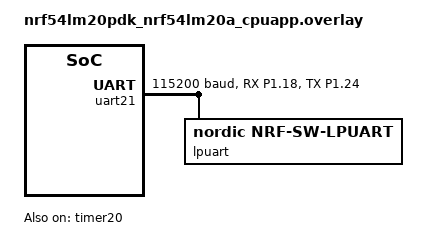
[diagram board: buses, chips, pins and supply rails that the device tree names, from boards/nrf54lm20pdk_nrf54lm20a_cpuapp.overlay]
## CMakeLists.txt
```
#
# Copyright (c) 2021 Nordic Semiconductor ASA
#
# SPDX-License-Identifier: LicenseRef-Nordic-5-Clause
#

cmake_minimum_required(VERSION 3.20.0)

find_package(Zephyr REQUIRED HINTS $ENV{ZEPHYR_BASE})
project(NONE)

target_sources(app PRIVATE
  src/main.c
)
```

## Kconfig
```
#
# Copyright (c) 2022 Nordic Semiconductor
#
# SPDX-License-Identifier: LicenseRef-Nordic-5-Clause
#

config TEST_LPUART_TIMEOUT
	int "Test timeout (seconds)"
	default 1

config TEST_LPUART_LOOPBACK
	bool "Loopback"

source "Kconfig.zephyr"
```

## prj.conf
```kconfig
#
# Copyright (c) 2021-2023 Nordic Semiconductor
#
# SPDX-License-Identifier: LicenseRef-Nordic-5-Clause
#
CONFIG_ZTEST=y
CONFIG_XOSHIRO_RANDOM_GENERATOR=y
CONFIG_ENTROPY_GENERATOR=y

CONFIG_NRF_SW_LPUART=y
CONFIG_NRF_SW_LPUART_MAX_PACKET_SIZE=4
CONFIG_TEST_LOGGING_DEFAULTS=n
CONFIG_COUNTER=y

CONFIG_TEST_LPUART_TIMEOUT=10
```

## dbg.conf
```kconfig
CONFIG_USE_SEGGER_RTT=n
CONFIG_LOG=y
CONFIG_LOG_MODE_DEFERRED=y
CONFIG_LOG_BUFFER_SIZE=4096
CONFIG_LOG_PROCESS_THREAD_STACK_SIZE=2048
CONFIG_NRF_SW_LPUART_LOG_LEVEL_DBG=y

CONFIG_NO_OPTIMIZATIONS=y
CONFIG_PPI_TRACE=y
```

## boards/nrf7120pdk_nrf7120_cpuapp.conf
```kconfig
#
# Copyright (c) 2025 Nordic Semiconductor
#
# SPDX-License-Identifier: LicenseRef-Nordic-5-Clause
#
CONFIG_UART_21_ASYNC=y
CONFIG_UART_21_INTERRUPT_DRIVEN=n
# Do not use interrupt driven API for console UART to not enable RX.
CONFIG_UART_20_INTERRUPT_DRIVEN=n
```

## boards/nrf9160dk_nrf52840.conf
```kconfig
CONFIG_UART_1_ASYNC=y
CONFIG_UART_1_INTERRUPT_DRIVEN=n
CONFIG_UART_1_NRF_HW_ASYNC=y
CONFIG_UART_1_NRF_ASYNC_LOW_POWER=y
CONFIG_UART_1_NRF_HW_ASYNC_TIMER=2

CONFIG_ENTROPY_CC3XX=y
```

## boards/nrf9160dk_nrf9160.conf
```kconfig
CONFIG_UART_2_ASYNC=y
CONFIG_UART_2_INTERRUPT_DRIVEN=n
CONFIG_UART_2_NRF_HW_ASYNC=y
CONFIG_UART_2_NRF_ASYNC_LOW_POWER=y
CONFIG_UART_2_NRF_HW_ASYNC_TIMER=2

CONFIG_ENTROPY_CC3XX=y
```

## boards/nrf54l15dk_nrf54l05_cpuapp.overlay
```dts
#include "nrf54l15dk_nrf54l15_cpuapp.overlay"
```

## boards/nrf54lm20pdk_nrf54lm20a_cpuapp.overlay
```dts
/* SPDX-License-Identifier: LicenseRef-Nordic-5-Clause */

/* Two GPIO loopbacks are required:
 * Request-Response Pins: P1.15 - P1.16,
 * UART RX-TX Pins: P1.18 - P1.24
 */

&pinctrl {
	uart21_default_alt: uart21_default_alt {
		group1 {
			psels = <NRF_PSEL(UART_RX, 1, 18)>,
				<NRF_PSEL(UART_TX, 1, 24)>;
		};
	};

	uart21_sleep_alt: uart21_sleep_alt {
		group1 {
			psels = <NRF_PSEL(UART_RX, 1, 18)>,
				<NRF_PSEL(UART_TX, 1, 24)>;
			low-power-enable;
		};
	};
};

&uart21 {
	status = "okay";
	pinctrl-0 = <&uart21_default_alt>;
	pinctrl-1 = <&uart21_sleep_alt>;
	pinctrl-names = "default", "sleep";
	current-speed = <115200>;
	lpuart: nrf-sw-lpuart {
		compatible = "nordic,nrf-sw-lpuart";
		status = "okay";
		req-pin = <47>;
		rdy-pin = <48>;
	};
};

&gpiote20 {
	status = "okay";
};

&timer20 {
	status = "okay";
	interrupts = <202 0>;
};

/ {
	busy-sim {
		compatible = "vnd,busy-sim";
		status = "okay";
		counter = <&timer20>;
	};
};
```

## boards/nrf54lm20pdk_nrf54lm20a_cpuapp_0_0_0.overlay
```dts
/* SPDX-License-Identifier: LicenseRef-Nordic-5-Clause */

/* Two GPIO loopbacks are required:
 * Request-Response Pins: P1.10 - P1.11,
 * UART RX-TX Pins: P1.08 - P1.09
 */

&pinctrl {
	uart21_default_alt: uart21_default_alt {
		group1 {
			psels = <NRF_PSEL(UART_RX, 1, 10)>,
				<NRF_PSEL(UART_TX, 1, 11)>;
		};
	};

	uart21_sleep_alt: uart21_sleep_alt {
		group1 {
			psels = <NRF_PSEL(UART_RX, 1, 10)>,
				<NRF_PSEL(UART_TX, 1, 11)>;
			low-power-enable;
		};
	};
};

&uart21 {
	status = "okay";
	pinctrl-0 = <&uart21_default_alt>;
	pinctrl-1 = <&uart21_sleep_alt>;
	pinctrl-names = "default", "sleep";
	current-speed = <115200>;
	lpuart: nrf-sw-lpuart {
		compatible = "nordic,nrf-sw-lpuart";
		status = "okay";
		req-pin = <40>;
		rdy-pin = <41>;
	};
};

&gpiote20 {
	status = "okay";
};

&timer20 {
	status = "okay";
	interrupts = <202 0>;
};

/ {
	busy-sim {
		compatible = "vnd,busy-sim";
		status = "okay";
		counter = <&timer20>;
	};
};
```

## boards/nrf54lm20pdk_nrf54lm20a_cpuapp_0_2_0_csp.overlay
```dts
/* SPDX-License-Identifier: LicenseRef-Nordic-5-Clause */

/* Two GPIO loopbacks are required:
 * Request-Response Pins: P1.13 - P1.14,
 * UART RX-TX Pins: P1.23 - P1.24
 */

&pinctrl {
	uart21_default_alt: uart21_default_alt {
		group1 {
			psels = <NRF_PSEL(UART_RX, 1, 23)>,
				<NRF_PSEL(UART_TX, 1, 24)>;
		};
	};

	uart21_sleep_alt: uart21_sleep_alt {
		group1 {
			psels = <NRF_PSEL(UART_RX, 1, 23)>,
				<NRF_PSEL(UART_TX, 1, 24)>;
			low-power-enable;
		};
	};
};

&uart21 {
	status = "okay";
	pinctrl-0 = <&uart21_default_alt>;
	pinctrl-1 = <&uart21_sleep_alt>;
	pinctrl-names = "default", "sleep";
	current-speed = <115200>;
	lpuart: nrf-sw-lpuart {
		compatible = "nordic,nrf-sw-lpuart";
		status = "okay";
		req-pin = <45>;
		rdy-pin = <46>;
	};
};

&gpiote20 {
	status = "okay";
};

&timer20 {
	status = "okay";
	interrupts = <202 0>;
};

/ {
	busy-sim {
		compatible = "vnd,busy-sim";
		status = "okay";
		counter = <&timer20>;
	};
};
```

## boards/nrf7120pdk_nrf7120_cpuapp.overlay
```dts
/* SPDX-License-Identifier: LicenseRef-Nordic-5-Clause */

&pinctrl {
	uart21_default_alt: uart21_default_alt {
		group1 {
			psels = <NRF_PSEL(UART_RX, 1, 10)>,
				<NRF_PSEL(UART_TX, 1, 11)>;
		};
	};

	uart21_sleep_alt: uart21_sleep_alt {
		group1 {
			psels = <NRF_PSEL(UART_RX, 1, 10)>,
				<NRF_PSEL(UART_TX, 1, 11)>;
			low-power-enable;
		};
	};
};

&uart21 {
	status = "okay";
	pinctrl-0 = <&uart21_default_alt>;
	pinctrl-1 = <&uart21_sleep_alt>;
	pinctrl-names = "default", "sleep";
	current-speed = <115200>;
	lpuart: nrf-sw-lpuart {
		compatible = "nordic,nrf-sw-lpuart";
		status = "okay";
		req-pin = <40>;
		rdy-pin = <41>;
	};
};

&gpiote20 {
	status = "okay";
};

&timer20 {
	status = "okay";
	interrupts = <202 0>;
};

/ {
	busy-sim {
		compatible = "vnd,busy-sim";
		status = "okay";
		counter = <&timer20>;
	};
};
```

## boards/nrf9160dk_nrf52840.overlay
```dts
/*
 * Copyright (c) 2022 Nordic Semiconductor ASA
 *
 * SPDX-License-Identifier: LicenseRef-Nordic-5-Clause
 */

#include <nrf52840/nrf9160dk_nrf52840_reset_on_if5.dtsi>

#include <nrf52840/nrf9160dk_uart1_on_if0_3.dtsi>

&pinctrl {
	uart1_default_alt: uart1_default_alt {
		group1 {
			psels = <NRF_PSEL(UART_TX, 0, 17)>,
				<NRF_PSEL(UART_RX, 0, 20)>;
		};
	};

	uart1_sleep_alt: uart1_sleep_alt {
		group1 {
			psels = <NRF_PSEL(UART_TX, 0, 17)>,
				<NRF_PSEL(UART_RX, 0, 20)>;
			low-power-enable;
		};
	};
};

&uart1 {
	current-speed = <1000000>;
	pinctrl-0 = <&uart1_default_alt>;
	pinctrl-1 = <&uart1_sleep_alt>;
	pinctrl-names = "default", "sleep";

	lpuart: nrf-sw-lpuart {
		compatible = "nordic,nrf-sw-lpuart";
		status = "okay";
		req-pin = <15>; /* <&interface_to_nrf9160 2 0>; */
		rdy-pin = <22>; /* <&interface_to_nrf9160 3 0>; */
	};
};

&gpiote {
	interrupts = <6 NRF_DEFAULT_IRQ_PRIORITY>;
};

/* Disabling uart rx pin to get low power */
&uart0 {
	disable-rx;
};

&timer3 {
	status = "okay";
	interrupts = <26 0>;
};

/ {
	busy-sim {
		compatible = "vnd,busy-sim";
		status = "okay";
		counter = <&timer3>;
	};
};
```

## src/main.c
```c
/*
 * Copyright (c) 2021 Nordic Semiconductor ASA
 *
 * SPDX-License-Identifier: LicenseRef-Nordic-5-Clause
 */
#include <zephyr/kernel.h>
#include <zephyr/ztest.h>
#include <zephyr/busy_sim.h>
#include <zephyr/drivers/uart.h>
#include <zephyr/drivers/counter.h>
#include <zephyr/random/random.h>
#include <hal/nrf_gpio.h>
#include <hal/nrf_uarte.h>
#include <nrfx_gpiote.h>

#define DT_DRV_COMPAT nordic_nrf_sw_lpuart

static uint32_t tx_req_cnt;
static uint32_t tx_done_cnt;
static uint32_t tx_abort_cnt;
static uint32_t rx_cnt;
static volatile bool test_kill;
static volatile bool test_err;
static uint8_t rx_buf[5];
static bool buf_released;
static int test_time;

/* Timeout should be more than a millisecond as transfer setup with enabling
 * of HFXO can take more than a millisecond so if timeout is too short it can
 * expire before first byte is transferred.
 */
#define TX_TIMEOUT_US 10000

static K_SEM_DEFINE(uart_rx_buf_possession_sem, 1, 1);

static void kill_timer_handler(struct k_timer *timer)
{
	ARG_UNUSED(timer);

	TC_PRINT("TX_DONE: %d, RX_CNT:%d\n", tx_done_cnt, rx_cnt);
	test_time++;
	if (test_time == CONFIG_TEST_LPUART_TIMEOUT) {
		TC_PRINT("Killing test\n");
		k_timer_stop(timer);
		test_kill = true;
	}
}

static void report_error(void);

static void wdt_timer_handler(struct k_timer *timer)
{
	ARG_UNUSED(timer);
	TC_PRINT("Watchdog timer.\n");
	report_error();
}

static K_TIMER_DEFINE(kill_timer, kill_timer_handler, NULL);
static K_TIMER_DEFINE(wdt_timer, wdt_timer_handler, NULL);

static void tx_next_timeout(struct k_timer *timer);
static K_TIMER_DEFINE(tx_timer, tx_next_timeout, NULL);

static K_SEM_DEFINE(test_sem, 0, 1);

static void report_error(void)
{
	test_err = true;
	test_kill = true;
	k_timer_stop(&wdt_timer);
	k_sem_give(&test_sem);
}

static bool is_kill_packet(const uint8_t *buf, size_t len)
{
	static const uint8_t kill_packet[] = {0xFF, 0xFF, 0xFF, 0xFF};

	return (len == sizeof(kill_packet)) && (memcmp(buf, kill_packet, len) == 0);
}

static void next_tx(const struct device *dev)
{
	static uint8_t tx_buf[4];
	static size_t tx_len;

	if (test_kill) {
		memset(tx_buf, 0xFF, sizeof(tx_buf));
		tx_len = 4;
	} else {
		tx_len++;
		tx_len = (tx_len > 4) ? 1 : tx_len;
		tx_buf[0]++;
	}

	tx_req_cnt++;
	int err = uart_tx(dev, tx_buf, tx_len, TX_TIMEOUT_US);

	if (err != 0) {
		TC_PRINT("uart_tx returned err:%d\n", err);
		report_error();
	}
}

static void tx_next_timeout(struct k_timer *timer)
{
	const struct device *dev = k_timer_user_data_get(timer);

	next_tx(dev);
}

static void on_tx_done(const struct device *dev, struct uart_event *evt)
{
	tx_done_cnt++;

	if (is_kill_packet(evt->data.tx.buf, evt->data.tx.len)) {
		k_sem_give(&test_sem);
		return;
	}

	uint32_t delay_us = sys_rand32_get() % 1000;

	if (delay_us < 50) {
		next_tx(dev);
	} else {
		k_timer_start(&tx_timer, K_USEC(delay_us), K_NO_WAIT);
	}
}

static void on_rx_rdy(const struct device *dev, struct uart_event *evt)
{
	uint8_t id = evt->data.rx.buf[0];
	uint8_t exp_id;

	k_timer_stop(&wdt_timer);

	if (is_kill_packet(evt->data.rx.buf, evt->data.rx.len)) {
		TC_PRINT("Got kill packet\n");
		test_kill = true;
		return;
	}

	rx_cnt++;
	exp_id = (uint8_t)rx_cnt;

	if (id != exp_id) {
		TC_PRINT("Got: %d (0x%02x), exp: %d (0x%02x)\n", id, id, exp_id, exp_id);
		report_error();
	} else {
		k_timer_start(&wdt_timer, K_MSEC(500), K_NO_WAIT);
	}
}

static void on_rx_buf_req(const struct device *dev)
{

	int err;

	if (!buf_released) {
		TC_PRINT("Requested buffer before releasing previous one\n");
		report_error();
	}

	buf_released = false;
	err = uart_rx_buf_rsp(dev, rx_buf, sizeof(rx_buf));
	if (err != 0) {
		TC_PRINT("uart_rx_buf_rsp returned err: %d\n", err);
		report_error();
	}
}

static void uart_callback(const struct device *dev, struct uart_event *evt, void *user_data)
{
	switch (evt->type) {
	case UART_TX_DONE:
		on_tx_done(dev, evt);
		break;

	case UART_TX_ABORTED:
		tx_abort_cnt++;
		TC_PRINT("Unexpected TX aborted.\n");
		report_error();
		break;

	case UART_RX_RDY:
		on_rx_rdy(dev, evt);
		break;

	case UART_RX_BUF_REQUEST:
		zassert_equal(k_sem_take(&uart_rx_buf_possession_sem, K_NO_WAIT), 0);
		on_rx_buf_req(dev);
		break;

	case UART_RX_BUF_RELEASED:
		buf_released = true;
		k_sem_give(&uart_rx_buf_possession_sem);
		break;

	case UART_RX_DISABLED:
		break;

	case UART_RX_STOPPED:
		TC_PRINT("Unexpected RX stopped event.\n");
		report_error();
		break;
	}
}

int __weak bt_hci_transport_setup(const struct device *h4)
{
	return 0;
}

ZTEST(test_lpuart_stress, test_stress)
{
	const struct device *lpuart = DEVICE_DT_GET(DT_NODELABEL(lpuart));
	int err;

	(void)bt_hci_transport_setup(NULL);

	if (IS_ENABLED(CONFIG_TEST_BUSY_SIM)) {
		busy_sim_start(500, 400, 600, 550, NULL);
	}

	zassert_true(device_is_ready(lpuart), NULL);

	uart_callback_set(lpuart, uart_callback, NULL);

	buf_released = false;
	err = uart_rx_enable(lpuart, rx_buf, sizeof(rx_buf), 100);
	zassert_equal(err, 0, NULL);

	if (!IS_ENABLED(CONFIG_BOARD_NRF9160DK_NRF52840)) {
		k_msleep(1000);
	}

	k_timer_start(&kill_timer, K_MSEC(1000), K_MSEC(1000));
	k_timer_start(&wdt_timer, K_MSEC(2000), K_NO_WAIT);
	k_timer_user_data_set(&tx_timer, (void *)lpuart);

	next_tx(lpuart);

	err = k_sem_take(&test_sem, K_MSEC(1000 * CONFIG_TEST_LPUART_TIMEOUT + 100));
	k_timer_stop(&wdt_timer);
	k_timer_stop(&kill_timer);
	zassert_equal(err, 0, NULL);
	zassert_false(test_err, NULL);
	zassert_equal(tx_req_cnt, tx_done_cnt, NULL);

	k_msleep(100);

	err = uart_rx_disable(lpuart);
	zassert_equal(err, 0, NULL);
	TC_PRINT("UART RX disabled\n");

	TC_PRINT("Waiting for UART RX buffer release\n");
	zassert_equal(k_sem_take(&uart_rx_buf_possession_sem, K_MSEC(100)), 0);
	TC_PRINT("UART RX BUFFER released\n");

	if (IS_ENABLED(CONFIG_TEST_BUSY_SIM)) {
		busy_sim_stop();
	}
}

static uint8_t tx_buf[] = {0xA, 0xAA, 0xB, 0xBB};

static void resilency_uart_callback(const struct device *dev, struct uart_event *evt,
				    void *user_data)
{
	switch (evt->type) {
	case UART_TX_DONE:
		if ((evt->data.tx.buf != tx_buf) || (evt->data.tx.len != sizeof(tx_buf))) {
			report_error();
		}
		break;

	case UART_TX_ABORTED:
		TC_PRINT("Unexpected TX aborted.\n");
		report_error();
		break;

	case UART_RX_RDY:
		if (evt->data.rx.len != sizeof(tx_buf)) {
			report_error();
		}
		if (memcmp(evt->data.rx.buf, tx_buf, sizeof(tx_buf)) != 0) {
			report_error();
		}
		break;

	case UART_RX_BUF_REQUEST:
		break;

	case UART_RX_BUF_RELEASED:
		break;

	case UART_RX_DISABLED:
		break;

	case UART_RX_STOPPED:
		TC_PRINT("Unexpected RX stopped event.\n");
		report_error();
		break;
	}
}

static void tx_abort_expected_callback(const struct device *dev, struct uart_event *evt,
				       void *user_data)
{
	switch (evt->type) {
	case UART_TX_ABORTED:
		tx_abort_cnt++;
		TC_PRINT("TX aborted.\n");
		break;
	case UART_TX_DONE:
		TC_PRINT("UART_TX_DONE.\n");
		break;
	case UART_RX_RDY:
		TC_PRINT("UART_RX_RDY.\n");
		break;
	case UART_RX_BUF_REQUEST:
		TC_PRINT("UART_RX_BUF_REQUEST.\n");
		break;
	case UART_RX_BUF_RELEASED:
		TC_PRINT("UART_RX_BUF_RELEASED.\n");
		break;
	case UART_RX_DISABLED:
		TC_PRINT("UART_RX_DISABLED.\n");
		break;
	case UART_RX_STOPPED:
		TC_PRINT("UART_RX_STOPPED.\n");
		break;
	}
}

static void validate_lpuart(const struct device *lpuart)
{
	int err;

	k_timer_start(&wdt_timer, K_MSEC(200), K_NO_WAIT);

	err = uart_tx(lpuart, tx_buf, sizeof(tx_buf), TX_TIMEOUT_US);
	zassert_equal(err, 0, NULL);

	k_msleep(10);

	k_timer_stop(&wdt_timer);
	zassert_false(test_err, NULL);
}

static const struct device *counter =
	DEVICE_DT_GET(DT_PHANDLE(DT_COMPAT_GET_ANY_STATUS_OKAY(vnd_busy_sim), counter));

static void next_alarm(const struct device *counter, struct counter_alarm_cfg *alarm_cfg)
{
	int err;
	int mul = IS_ENABLED(CONFIG_NO_OPTIMIZATIONS) ? 10 : 1;

	alarm_cfg->ticks = (50 + sys_rand32_get() % 300) * mul;

	err = counter_set_channel_alarm(counter, 0, alarm_cfg);
	__ASSERT_NO_MSG(err == 0);
}

static nrf_gpio_pin_pull_t pin_toggle(uint32_t pin, nrf_gpio_pin_pull_t pull)
{
	nrf_gpio_cfg(pin, NRF_GPIO_PIN_DIR_INPUT, NRF_GPIO_PIN_INPUT_DISCONNECT, pull,
		     NRF_GPIO_PIN_S0S1, NRF_GPIO_PIN_NOSENSE);
	return (pull == NRF_GPIO_PIN_PULLUP) ? NRF_GPIO_PIN_PULLDOWN : NRF_GPIO_PIN_PULLUP;
}

static void pins_toggle(int32_t tx_pin)
{
	static nrf_gpio_pin_pull_t pull = NRF_GPIO_PIN_PULLUP;
	static nrf_gpio_pin_pull_t tx_pull = NRF_GPIO_PIN_PULLUP;
	nrfx_gpiote_pin_t req_pin = DT_INST_PROP(0, req_pin);
	bool req_pin_toggle;
	bool tx_pin_toggle;

	if (tx_pin > 0) {
		uint32_t rnd = sys_rand32_get();

		req_pin_toggle = (rnd & 0x6) == 0;
		tx_pin_toggle = rnd & 0x1;
	} else {
		req_pin_toggle = true;
		tx_pin_toggle = false;
	}

	if (req_pin_toggle) {
		pull = pin_toggle(req_pin, pull);
	}

	if (tx_pin_toggle) {
		tx_pull = pin_toggle(tx_pin, tx_pull);
	}
}

static void pins_to_default(int32_t tx_pin)
{
	nrfx_gpiote_pin_t req_pin = DT_INST_PROP(0, req_pin);

	nrf_gpio_cfg(req_pin, NRF_GPIO_PIN_DIR_OUTPUT, NRF_GPIO_PIN_INPUT_DISCONNECT,
		     NRF_GPIO_PIN_NOPULL, NRF_GPIO_PIN_S0S1, NRF_GPIO_PIN_NOSENSE);

	if (tx_pin > 0) {
		nrf_gpio_cfg(tx_pin, NRF_GPIO_PIN_DIR_OUTPUT, NRF_GPIO_PIN_INPUT_DISCONNECT,
			     NRF_GPIO_PIN_NOPULL, NRF_GPIO_PIN_S0S1, NRF_GPIO_PIN_NOSENSE);
	}
}

struct test_data {
	struct counter_alarm_cfg alarm_cfg;
	int32_t tx_pin;
};

static void counter_alarm_callback(const struct device *dev, uint8_t chan_id, uint32_t ticks,
				   void *user_data)
{
	struct test_data *data = (struct test_data *)user_data;

	pins_toggle(data->tx_pin);
	next_alarm(dev, &data->alarm_cfg);
}

static void floating_pins_start(int32_t tx_pin)
{
	static struct test_data data;

	data.alarm_cfg.callback = counter_alarm_callback;
	data.alarm_cfg.flags = COUNTER_ALARM_CFG_EXPIRE_WHEN_LATE;
	data.alarm_cfg.user_data = (void *)&data;
	data.tx_pin = tx_pin;

	counter_start(counter);
	next_alarm(counter, &data.alarm_cfg);
}

static void floating_pins_stop(int32_t tx_pin)
{
	counter_cancel_channel_alarm(counter, 0);
	counter_stop(counter);
	pins_to_default(tx_pin);
}

static void test_resilency(bool tx_pin_float)
{
	const struct device *lpuart = DEVICE_DT_GET(DT_NODELABEL(lpuart));
	uint32_t t = k_uptime_get_32() + 3000;
	int err;
	NRF_UARTE_Type *uarte = (NRF_UARTE_Type *)DT_REG_ADDR(DT_INST_BUS(0));
	int32_t tx_pin = nrf_uarte_tx_pin_get(uarte);

	if (!IS_ENABLED(CONFIG_TEST_LPUART_LOOPBACK)) {
		return;
	}

	zassert_true(device_is_ready(lpuart), NULL);

	uart_callback_set(lpuart, resilency_uart_callback, NULL);

	while (k_uptime_get_32() < t) {
		err = uart_rx_enable(lpuart, rx_buf, sizeof(rx_buf), 100);
		zassert_equal(err, 0, "Unexpected err:%d", err);

		floating_pins_start(tx_pin_float ? tx_pin : -1);
		k_msleep(100);
		floating_pins_stop(tx_pin_float ? tx_pin : -1);
		k_msleep(2);

		validate_lpuart(lpuart);

		err = uart_rx_disable(lpuart);
		zassert_equal(err, 0, "Unexpected err:%d", err);
	}
}

ZTEST(test_lpuart_resilency, test_resilency_no_tx_pin_float)
{
	test_resilency(false);
}

ZTEST(test_lpuart_resilency, test_resilency_with_tx_pin_float)
{
	test_resilency(true);
}

ZTEST(test_lpuart_resilency, test_tx_abort_rx_not_enabled)
{
	Z_TEST_SKIP_IFNDEF(CONFIG_TEST_LPUART_LOOPBACK);

	int err;
	const struct device *lpuart = DEVICE_DT_GET(DT_NODELABEL(lpuart));

	zassert_true(device_is_ready(lpuart), NULL);
	uart_callback_set(lpuart, tx_abort_expected_callback, NULL);

	err = uart_tx(lpuart, tx_buf, sizeof(tx_buf), TX_TIMEOUT_US);
	zassert_equal(err, 0, "uart_tx - unexpected err: %d", err);
	k_msleep(10);
	zassert_equal(tx_abort_cnt, 1, "tx_abort_cnt != 1: %d", tx_abort_cnt);
	tx_abort_cnt = 0;
}

ZTEST(test_lpuart_resilency, test_tx_abort_from_api)
{
	Z_TEST_SKIP_IFNDEF(CONFIG_TEST_LPUART_LOOPBACK);

	int err;
	uint8_t tx_buffer[50] = {0};
	uint8_t rx_buffer[50] = {0};
	const struct device *lpuart = DEVICE_DT_GET(DT_NODELABEL(lpuart));

	zassert_true(device_is_ready(lpuart), NULL);
	uart_callback_set(lpuart, tx_abort_expected_callback, NULL);

	err = uart_rx_enable(lpuart, rx_buffer, sizeof(rx_buffer), 100);
	zassert_equal(err, 0, "uart_rx_enable - unexpected err:%d", err);
	err = uart_tx(lpuart, tx_buffer, sizeof(tx_buffer), TX_TIMEOUT_US);
	zassert_equal(err, 0, "uart_tx - unexpected err:%d", err);
	k_usleep(100);
	err = uart_tx_abort(lpuart);
	zassert_equal(err, 0, "uart_tx_abort - unexpected err:%d", err);
	k_msleep(10);
	err = uart_rx_disable(lpuart);
	zassert_equal(err, 0, "uart_rx_disable - unexpected err:%d", err);
	zassert_equal(tx_abort_cnt, 1, "tx_abort_cnt != 1: %d", tx_abort_cnt);
	tx_abort_cnt = 0;
}

static void *suite_setup(void)
{
	/* Read first random number. There are some generators which do not support
	 * reading first random number from an interrupt context (initialization
	 * is performed at the first read).
	 */
	(void)sys_rand32_get();

	return NULL;
}

ZTEST_SUITE(test_lpuart_stress, NULL, suite_setup, NULL, NULL, NULL);
ZTEST_SUITE(test_lpuart_resilency, NULL, suite_setup, NULL, NULL, NULL);
```
